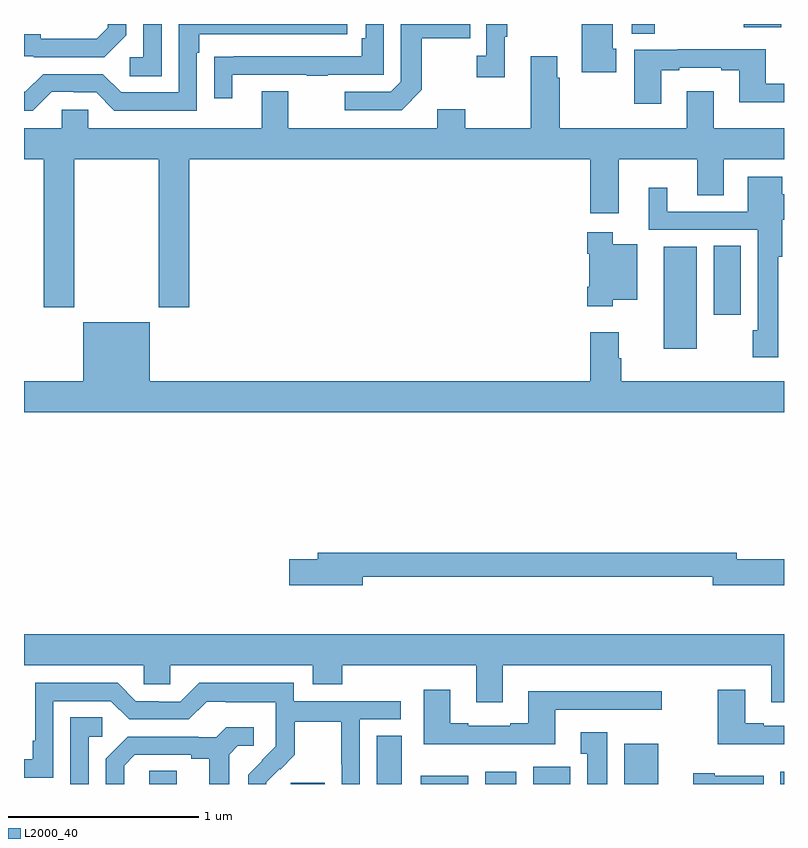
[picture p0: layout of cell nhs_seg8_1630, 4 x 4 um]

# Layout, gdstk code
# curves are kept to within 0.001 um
import gdstk
lib = gdstk.Library(unit=1e-6, precision=1e-09)
def R(c, l, rs):  # rectangles x0, y0, x1, y1
    for r in rs: c.add(gdstk.rectangle(r[:2], r[2:], *l))
def P(c, l, *ps):  # polygons
    for p in ps: c.add(gdstk.Polygon(p, *l))
L2000_40 = (2000, 40)

nhs_seg8_1630 = lib.new_cell('nhs_seg8_1630')
R(nhs_seg8_1630, L2000_40, [(215.658,1091.9,215.803,1091.969), (216.404,1091.9,216.583,1091.907), (216.857,1091.9,216.988,1092.155), (217.088,1091.9,217.339,1091.944), (217.427,1091.9,217.591,1091.965), (217.679,1091.9,217.876,1091.992), (218.159,1091.9,218.338,1092.112), (218.981,1091.9,219,1091.965), (218.366,1094.192,218.542,1094.728), (218.63,1094.37,218.773,1094.732), (218.198,1095.85,218.32,1095.9), (218.789,1095.884,218.986,1095.9)])
P(nhs_seg8_1630, L2000_40, [(218.116,1095.771),(218.098,1095.771),(218.098,1095.9),(217.936,1095.9),(217.936,1095.646),(218.116,1095.646)],
  [(215.538,1095.842),(215.538,1095.9),(215.441,1095.9),(215.441,1095.879),(215.384,1095.822),(215.089,1095.822),(215.089,1095.845),(215,1095.845),(215,1095.729),(215.05,1095.729),(215.05,1095.726),(215.422,1095.726)],
  [(217.531,1095.833),(217.543,1095.833),(217.543,1095.9),(217.434,1095.9),(217.434,1095.734),(217.383,1095.734),(217.383,1095.621),(217.531,1095.621)],
  [(215.724,1095.9),(215.628,1095.9),(215.628,1095.726),(215.556,1095.726),(215.556,1095.625),(215.724,1095.625)],
  [(217.093,1095.553),(217.093,1095.826),(217.349,1095.826),(217.349,1095.9),(216.984,1095.9),(216.984,1095.597),(216.93,1095.543),(216.687,1095.543),(216.687,1095.447),(216.987,1095.447)],
  [(216.097,1095.633),(216.487,1095.633),(216.487,1095.628),(216.599,1095.628),(216.599,1095.633),(216.894,1095.633),(216.894,1095.9),(216.798,1095.9),(216.798,1095.826),(216.778,1095.826),(216.778,1095.729),(216.103,1095.729),(216.103,1095.728),(216.001,1095.728),(216.001,1095.51),(216.097,1095.51)],
  [(215.145,1095.543),(215.261,1095.543),(215.261,1095.54),(215.379,1095.54),(215.475,1095.444),(215.91,1095.444),(215.91,1095.749),(215.923,1095.749),(215.923,1095.846),(216.7,1095.846),(216.7,1095.9),(215.814,1095.9),(215.814,1095.54),(215.511,1095.54),(215.415,1095.636),(215.1,1095.636),(215.007,1095.543),(215,1095.543),(215,1095.443),(215.045,1095.443)],
  [(218.353,1095.657),(218.449,1095.657),(218.449,1095.669),(218.669,1095.669),(218.669,1095.657),(218.765,1095.657),(218.765,1095.488),(219,1095.488),(219,1095.585),(218.905,1095.585),(218.905,1095.766),(218.441,1095.766),(218.441,1095.765),(218.213,1095.765),(218.213,1095.48),(218.353,1095.48)],
  [(215.265,1095.188),(215.71,1095.188),(215.71,1094.409),(215.87,1094.409),(215.87,1095.188),(217.979,1095.188),(217.979,1094.904),(218.131,1094.904),(218.131,1095.188),(218.543,1095.188),(218.543,1094.998),(218.683,1094.998),(218.683,1095.188),(219,1095.188),(219,1095.352),(218.629,1095.352),(218.629,1095.547),(218.489,1095.547),(218.489,1095.352),(217.82,1095.352),(217.82,1095.617),(217.807,1095.617),(217.807,1095.73),(217.667,1095.73),(217.667,1095.352),(217.323,1095.352),(217.323,1095.451),(217.175,1095.451),(217.175,1095.352),(216.391,1095.352),(216.391,1095.547),(216.251,1095.547),(216.251,1095.352),(215.337,1095.352),(215.337,1095.45),(215.199,1095.45),(215.199,1095.352),(215,1095.352),(215,1095.188),(215.105,1095.188),(215.105,1094.409),(215.265,1094.409)],
  [(218.971,1094.675),(218.992,1094.675),(218.992,1094.87),(219,1094.87),(219,1095.004),(218.992,1095.004),(218.992,1095.097),(218.81,1095.097),(218.81,1094.913),(218.386,1094.913),(218.386,1095.037),(218.288,1095.037),(218.288,1094.817),(218.862,1094.817),(218.862,1094.289),(218.836,1094.289),(218.836,1094.145),(218.971,1094.145)],
  [(218.098,1094.45),(218.227,1094.45),(218.227,1094.74),(218.098,1094.74),(218.098,1094.803),(217.964,1094.803),(217.964,1094.69),(217.976,1094.69),(217.976,1094.518),(217.964,1094.518),(217.964,1094.414),(218.098,1094.414)],
  [(219,1094.02),(218.144,1094.02),(218.144,1094.141),(218.131,1094.141),(218.131,1094.278),(217.979,1094.278),(217.979,1094.02),(215.662,1094.02),(215.662,1094.329),(215.312,1094.329),(215.312,1094.02),(215,1094.02),(215,1093.856),(219,1093.856)],
  [(216.784,1092.99),(218.624,1092.99),(218.624,1092.947),(219,1092.947),(219,1093.082),(218.752,1093.082),(218.752,1093.118),(216.545,1093.118),(216.545,1093.082),(216.396,1093.082),(216.396,1092.947),(216.784,1092.947)],
  [(217.519,1092.524),(218.933,1092.524),(218.933,1092.33),(219,1092.33),(219,1092.688),(215,1092.688),(215,1092.524),(215.631,1092.524),(215.631,1092.426),(215.769,1092.426),(215.769,1092.524),(216.521,1092.524),(216.521,1092.425),(216.674,1092.425),(216.674,1092.524),(217.379,1092.524),(217.379,1092.33),(217.519,1092.33)],
  [(216.275,1091.909),(216.345,1091.979),(216.348,1091.976),(216.425,1092.053),(216.425,1092.228),(216.67,1092.228),(216.67,1092.004),(216.672,1092.004),(216.672,1091.9),(216.768,1091.9),(216.768,1092.24),(216.982,1092.24),(216.982,1092.336),(216.42,1092.336),(216.42,1092.433),(215.923,1092.433),(215.823,1092.333),(215.708,1092.333),(215.708,1092.336),(215.589,1092.336),(215.493,1092.432),(215.058,1092.432),(215.058,1092.127),(215.045,1092.127),(215.045,1092.03),(215,1092.03),(215,1091.934),(215.154,1091.934),(215.154,1092.336),(215.457,1092.336),(215.553,1092.24),(215.868,1092.24),(215.961,1092.333),(216.061,1092.333),(216.061,1092.329),(216.324,1092.329),(216.324,1092.195),(216.326,1092.195),(216.326,1092.098),(216.18,1091.95),(216.18,1091.9),(216.275,1091.9)],
  [(219,1092.207),(218.893,1092.207),(218.893,1092.22),(218.797,1092.22),(218.797,1092.397),(218.65,1092.397),(218.65,1092.11),(219,1092.11)],
  [(217.795,1092.291),(218.356,1092.291),(218.356,1092.388),(217.655,1092.388),(217.655,1092.22),(217.559,1092.22),(217.559,1092.207),(217.339,1092.207),(217.339,1092.22),(217.243,1092.22),(217.243,1092.397),(217.103,1092.397),(217.103,1092.11),(217.795,1092.11)],
  [(215.34,1092.15),(215.413,1092.15),(215.413,1092.251),(215.244,1092.251),(215.244,1091.9),(215.34,1091.9)],
  [(215.527,1091.997),(215.584,1092.054),(215.879,1092.054),(215.879,1092.032),(215.975,1092.032),(215.975,1091.9),(216.079,1091.9),(216.079,1092.055),(216.126,1092.102),(216.208,1092.102),(216.208,1092.199),(216.064,1092.199),(216.012,1092.147),(215.918,1092.147),(215.918,1092.15),(215.546,1092.15),(215.43,1092.034),(215.43,1091.9),(215.527,1091.9)],
  [(218.071,1092.172),(217.931,1092.172),(217.931,1092.059),(217.964,1092.059),(217.964,1091.9),(218.071,1091.9)],
  [(218.893,1091.944),(218.635,1091.944),(218.635,1091.957),(218.523,1091.957),(218.523,1091.9),(218.893,1091.9)])

lib.write_gds('nhs_seg8_1630.gds')
